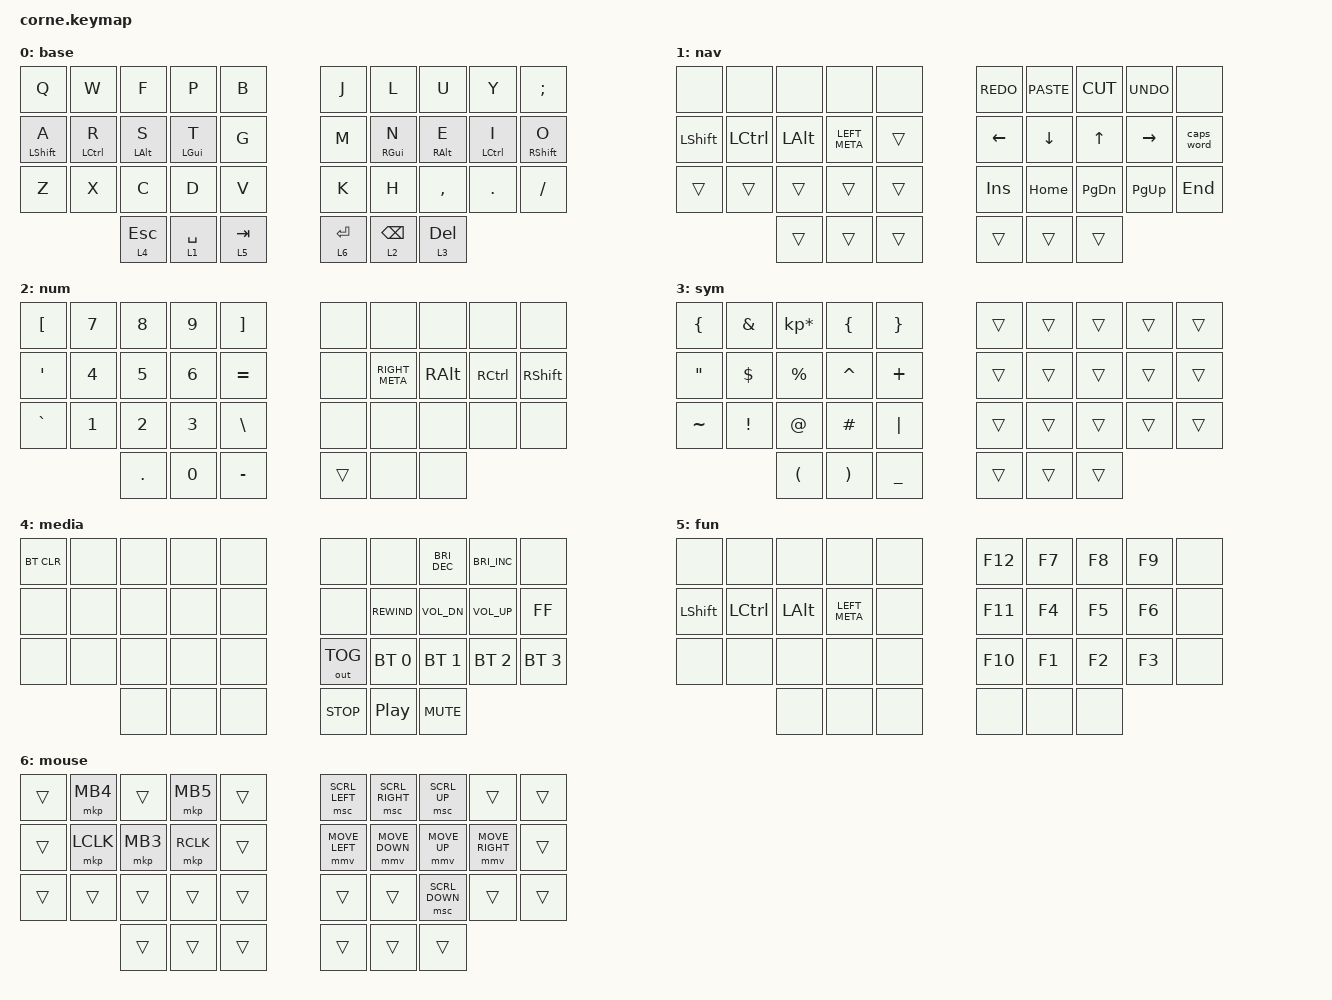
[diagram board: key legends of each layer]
/*
 * Copyright (c) 2020 The ZMK Contributors
 *
 * SPDX-License-Identifier: MIT
 */

#define ZMK_POINTING_DEFAULT_MOVE_VAL 1500  // default: 600
#define ZMK_POINTING_DEFAULT_SCRL_VAL 20    // default: 10

#include <behaviors.dtsi>
#include <dt-bindings/zmk/bt.h>
#include <dt-bindings/zmk/keys.h>
#include <dt-bindings/zmk/outputs.h>
#include <dt-bindings/zmk/pointing.h>

// Key positions (5-col Corne):
//  0  1  2  3  4        5  6  7  8  9
// 10 11 12 13 14       15 16 17 18 19
// 20 21 22 23 24       25 26 27 28 29
//          30 31 32  33 34 35
#define KEYS_L 0 1 2 3 4 10 11 12 13 14 20 21 22 23 24
#define KEYS_R 5 6 7 8 9 15 16 17 18 19 25 26 27 28 29
#define THUMBS 30 31 32 33 34 35

/ {
    chosen { zmk,physical-layout = &foostan_corne_5col_layout; };

    behaviors {
        hml: homerow_mods_left {
            compatible = "zmk,behavior-hold-tap";
            #binding-cells = <2>;
            bindings = <&kp>, <&kp>;
            tapping-term-ms = <200>;
            require-prior-idle-ms = <150>;
            flavor = "balanced";
            quick-tap-ms = <175>;
            hold-trigger-key-positions = <KEYS_R THUMBS>;
            hold-trigger-on-release;
        };

        hmr: homerow_mods_right {
            compatible = "zmk,behavior-hold-tap";
            #binding-cells = <2>;
            bindings = <&kp>, <&kp>;
            tapping-term-ms = <200>;
            require-prior-idle-ms = <150>;
            flavor = "balanced";
            quick-tap-ms = <175>;
            hold-trigger-key-positions = <KEYS_L THUMBS>;
            hold-trigger-on-release;
        };

        hml_s: homerow_shift_meta_left {
            compatible = "zmk,behavior-hold-tap";
            #binding-cells = <2>;
            bindings = <&kp>, <&kp>;
            tapping-term-ms = <200>;
            require-prior-idle-ms = <100>;
            flavor = "balanced";
            quick-tap-ms = <175>;
            hold-trigger-key-positions = <KEYS_R THUMBS>;
            hold-trigger-on-release;
        };

        hmr_s: homerow_shift_meta_right {
            compatible = "zmk,behavior-hold-tap";
            #binding-cells = <2>;
            bindings = <&kp>, <&kp>;
            tapping-term-ms = <200>;
            require-prior-idle-ms = <100>;
            flavor = "balanced";
            quick-tap-ms = <175>;
            hold-trigger-key-positions = <KEYS_L THUMBS>;
            hold-trigger-on-release;
        };
    };

    keymap {
        compatible = "zmk,keymap";

        colebase {
            bindings = <
  &kp Q         &kp W         &kp F        &kp P        &kp B        &kp J        &kp L            &kp U         &kp Y         &kp SEMI
  &hml_s LSHFT A  &hml LCTRL R  &hml LALT S  &hml_s LGUI T  &kp G        &kp M        &hmr_s RGUI N      &hmr RALT E   &hmr LCTRL I  &hmr_s RSHFT O
  &kp Z         &kp X         &kp C        &kp D        &kp V        &kp K        &kp H            &kp COMMA     &kp DOT       &kp FSLH
                              &lt 4 ESC    &lt 1 SPACE  &lt 5 TAB    &lt 6 ENTER  &lt 2 BACKSPACE  &lt 3 DELETE
            >;

            label = "base";
        };

        nav {
            // -----------------------------------------------------------------------------------------
            // |  TAB |  1  |  2  |  3  |  4  |  5  |   |  6  |  7  |  8  |  9  |  0  | BKSP |
            // | BTCLR| BT1 | BT2 | BT3 | BT4 | BT5 |   | LFT | DWN |  UP | RGT |     |      |
            // | SHFT |     |     |     |     |     |   |     |     |     |     |     |      |
            //                    | GUI |     | SPC |   | ENT |     | ALT |

            display-name = "nav";
            bindings = <
  &none           &none      &none         &none          &none     &kp K_REDO  &kp K_PASTE  &kp K_CUT  &kp K_UNDO  &none
  &kp LEFT_SHIFT  &kp LCTRL  &kp LEFT_ALT  &kp LEFT_META  &trans    &kp LEFT    &kp DOWN     &kp UP     &kp RIGHT   &caps_word
  &trans          &trans     &trans        &trans         &trans    &kp INS     &kp HOME     &kp PG_DN  &kp PG_UP   &kp END
                             &trans        &trans         &trans    &trans      &trans       &trans
            >;
        };

        num {
            // -----------------------------------------------------------------------------------------
            // |  TAB |  !  |  @  |  #  |  $  |  %  |   |  ^  |  &  |  *  |  (  |  )  | BKSP |
            // | CTRL |     |     |     |     |     |   |  -  |  =  |  [  |  ]  |  \  |  `   |
            // | SHFT |     |     |     |     |     |   |  _  |  +  |  {  |  }  | "|" |  ~   |
            //                    | GUI |     | SPC |   | ENT |     | ALT |

            display-name = "num";
            bindings = <
  &kp LEFT_BRACKET  &kp N7        &kp N8        &kp N9        &kp RIGHT_BRACKET    &none   &none           &none          &none      &none
  &kp SINGLE_QUOTE  &kp NUMBER_4  &kp N5        &kp NUMBER_6  &kp EQUAL            &none   &kp RIGHT_META  &kp RIGHT_ALT  &kp RCTRL  &kp RIGHT_SHIFT
  &kp GRAVE         &kp NUMBER_1  &kp NUMBER_2  &kp NUMBER_3  &kp BACKSLASH        &none   &none           &none          &none      &none
                                  &kp PERIOD    &kp N0        &kp MINUS            &trans  &none           &none
            >;
        };

        sym {
            bindings = <
  &kp LEFT_BRACE     &kp AMPS    &kp KP_MULTIPLY       &kp LEFT_BRACE  &kp RBRC     &trans  &trans  &trans  &trans  &trans
  &kp DOUBLE_QUOTES  &kp DOLLAR  &kp PERCENT           &kp CARET       &kp PLUS     &trans  &trans  &trans  &trans  &trans
  &kp TILDE          &kp EXCL    &kp AT                &kp HASH        &kp PIPE     &trans  &trans  &trans  &trans  &trans
                                 &kp LEFT_PARENTHESIS  &kp RPAR        &kp UNDER    &trans  &trans  &trans
            >;

            label = "sym";
        };

        media {
            bindings = <
  &bt BT_CLR  &none  &none  &none  &none    &none         &none             &kp C_BRIGHTNESS_DEC  &kp C_BRIGHTNESS_INC  &none
  &none       &none  &none  &none  &none    &none         &kp C_REWIND      &kp C_VOL_DN          &kp C_VOL_UP          &kp C_FF
  &none       &none  &none  &none  &none    &out OUT_TOG  &bt BT_SEL 0      &bt BT_SEL 1          &bt BT_SEL 2          &bt BT_SEL 3
                     &none  &none  &none    &kp K_STOP    &kp C_PLAY_PAUSE  &kp K_MUTE
            >;

            label = "media";
        };

        fun {
            bindings = <
  &none      &none      &none     &none          &none    &kp F12  &kp F7  &kp F8  &kp F9  &none
  &kp LSHFT  &kp LCTRL  &kp LALT  &kp LEFT_META  &none    &kp F11  &kp F4  &kp F5  &kp F6  &none
  &none      &none      &none     &none          &none    &kp F10  &kp F1  &kp F2  &kp F3  &none
                        &none     &none          &none    &none    &none   &none
            >;

            label = "fun";
        };

        mouse {
            bindings = <
  &trans  &mkp MB4   &trans    &mkp MB5   &trans    &msc SCRL_LEFT  &msc SCRL_RIGHT  &msc SCRL_UP    &trans           &trans
  &trans  &mkp LCLK  &mkp MB3  &mkp RCLK  &trans    &mmv MOVE_LEFT  &mmv MOVE_DOWN   &mmv MOVE_UP    &mmv MOVE_RIGHT  &trans
  &trans  &trans     &trans    &trans     &trans    &trans          &trans           &msc SCRL_DOWN  &trans           &trans
                     &trans    &trans     &trans    &trans          &trans           &trans
            >;
        };
    };
};
